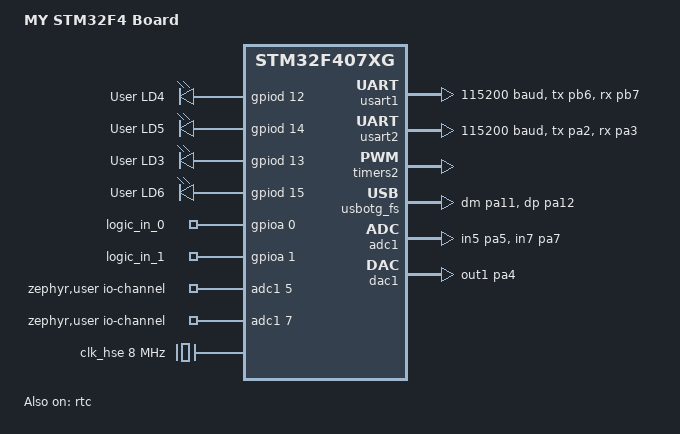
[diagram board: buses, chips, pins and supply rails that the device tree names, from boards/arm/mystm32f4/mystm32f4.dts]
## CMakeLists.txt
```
# SPDX-License-Identifier: Apache-2.0

cmake_minimum_required(VERSION 3.13.1)

set(BOARD_ROOT ${CMAKE_CURRENT_LIST_DIR})
set(BOARD myesp32)

find_package(Zephyr REQUIRED HINTS $ENV{ZEPHYR_BASE})
project(proj)

include(lib/src/CMakeLists.txt)

FILE(GLOB app_sources_c src/*.c)
FILE(GLOB app_sources_cpp src/*.cpp)

set(app_sources
  ${app_sources_c}
  ${app_sources_cpp}
)

target_sources(app PRIVATE ${app_sources} ${lib_sources})
```

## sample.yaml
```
sample:
  name: Espressif ESP32 WiFi Station
tests:
  sample.board.myesp32:
    platform_allow: myesp32
    tags: myesp32
```

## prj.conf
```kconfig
CONFIG_LOG=y
CONFIG_EXCEPTION_STACK_TRACE=y
CONFIG_DEBUG_INFO=y

CONFIG_CPLUSPLUS=y
CONFIG_MINIMAL_LIBC_MALLOC_ARENA_SIZE=4096
CONFIG_GPIO=y

CONFIG_SHELL=y
CONFIG_SHELL_STACK_SIZE=1024

CONFIG_SERIAL=y
CONFIG_UART_INTERRUPT_DRIVEN=y
CONFIG_DEBUG_OPTIMIZATIONS=y

CONFIG_ADC=y
CONFIG_DAC=y
```

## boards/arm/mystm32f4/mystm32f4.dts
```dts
/*
 * Copyright (c) 2017 Linaro Limited
 *
 * SPDX-License-Identifier: Apache-2.0
 */

/dts-v1/;
#include <st/f4/stm32f407Xg.dtsi>
#include <st/f4/stm32f407v(e-g)tx-pinctrl.dtsi>

/ {
	model = "MY STM32F4 Board";
	compatible = "st,stm32f4discovery";

	chosen {
		zephyr,console = &usart2;
		zephyr,shell-uart = &usart2;
		zephyr,sram = &sram0;
		zephyr,flash = &flash0;
		zephyr,ccm = &ccm0;
		zephyr,can-primary = &can2;
	};

	leds {
		compatible = "gpio-leds";
		led_0: led_green {
			gpios = <&gpiod 12 GPIO_ACTIVE_HIGH>;
			label = "User LD4";
		};
		led_1: led_red {
			gpios = <&gpiod 14 GPIO_ACTIVE_HIGH>;
			label = "User LD5";
		};
		led_2: led_orange {
			gpios = <&gpiod 13 GPIO_ACTIVE_HIGH>;
			label = "User LD3";
		};
		led_3: led_blue {
			gpios = <&gpiod 15 GPIO_ACTIVE_HIGH>;
			label = "User LD6";
		};
	};

	gpio_keys {
		compatible = "gpio-keys";
		logic_in_0: logic_in_0 {
			label = "logic_in_0";
			gpios = <&gpioa 0 GPIO_ACTIVE_HIGH>;
		};
		logic_in_1: logic_in_1 {
			label = "logic_in_1";
			gpios = <&gpioa 1 GPIO_SINGLE_ENDED>;
		};
	};

	zephyr,user {
		io-channels = <&adc1 5>, <&adc1 7>;
		dac = <&dac1>;
		dac-channel-id = <1>;
		dac-resolution = <12>;
	};

	aliases {
		intermdule = &usart1;
		sw0 = &logic_in_0;
	};
};

&usart1 {
	pinctrl-0 = <&usart1_tx_pb6 &usart1_rx_pb7>;
	current-speed = <115200>;
	status = "okay";
};

&clk_hse {
	clock-frequency = <DT_FREQ_M(8)>;
	status = "okay";
};

&pll {
	div-m = <8>;
	mul-n = <336>;
	div-p = <2>;
	div-q = <7>;
	clocks = <&clk_hse>;
	status = "okay";
};

&rcc {
	clocks = <&pll>;
	clock-frequency = <DT_FREQ_M(168)>;
	ahb-prescaler = <1>;
	apb1-prescaler = <4>;
	apb2-prescaler = <2>;
};

&usart2 {
	pinctrl-0 = <&usart2_tx_pa2 &usart2_rx_pa3>;
	current-speed = <115200>;
	status = "okay";
};

&timers2 {
	status = "okay";

	pwm2: pwm {
		status = "okay";
		pinctrl-0 = <&tim2_ch1_pa0>;
	};
};

&rtc {
	status = "okay";
};

&usbotg_fs {
	pinctrl-0 = <&usb_otg_fs_dm_pa11 &usb_otg_fs_dp_pa12>;
	status = "okay";
};
/*
&can1 {
	pinctrl-0 = <&can1_rx_pb8 &can1_tx_pb9>;
	bus-speed = <125000>;
	status = "disabled";
};

&can2 {
	pinctrl-0 = <&can2_rx_pb5 &can2_tx_pb13>;
	bus-speed = <125000>;
	status = "okay";
};
*/
&adc1 {
	status = "okay";
	pinctrl-0 = <&adc1_in5_pa5>, <&adc1_in7_pa7>;
};

&dac1 {
	status = "okay";
	pinctrl-0 = <&dac_out1_pa4>;
};
```

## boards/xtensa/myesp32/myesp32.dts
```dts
/*
 * Copyright (c) 2019 Intel Corporation.
 *
 * SPDX-License-Identifier: Apache-2.0
 */
/dts-v1/;

#include <espressif/esp32.dtsi>

/ {
	model = "myesp32";
	compatible = "espressif,esp32";

	aliases {
		uart-0 = &uart0;
		i2c-0 = &i2c0;
	};

	chosen {
		zephyr,sram = &sram0;
		zephyr,console = &uart0;
		zephyr,shell-uart = &uart0;
		zephyr,flash = &flash0;
	};

	leds {
		compatible = "gpio-leds";
		led_0: led0 {
			gpios = <&gpio0 4 GPIO_ACTIVE_HIGH>;
		};
		led_1: led1 {
			gpios = <&gpio0 2 GPIO_ACTIVE_HIGH>;
		};
	};
};

&cpu0 {
	clock-frequency = <ESP32_CLK_CPU_240M>;
};

&cpu1 {
	clock-frequency = <ESP32_CLK_CPU_240M>;
};

&uart0 {
	status = "okay";
	current-speed = <115200>;
	tx-pin = <1>;
	rx-pin = <3>;
	rts-pin = <22>;
	cts-pin = <19>;
};

&uart1 {
	current-speed = <115200>;
	tx-pin = <10>;
	rx-pin = <9>;
	rts-pin = <11>;
	cts-pin = <6>;
	hw-flow-control;
};

&uart2 {
	current-speed = <115200>;
	tx-pin = <17>;
	rx-pin = <16>;
	rts-pin = <7>;
	cts-pin = <8>;
	hw-flow-control;
};

&i2c0 {
	status = "okay";
	clock-frequency = <I2C_BITRATE_FAST>;
	sda-pin = <21>;
	scl-pin = <22>;
};

&i2c1 {
	clock-frequency = <I2C_BITRATE_FAST>;
	sda-pin = <18>;
	scl-pin = <5>;
};

&spi2 {
	#address-cells = <1>;
	#size-cells = <0>;
	status = "okay";
	miso-pin = <12>;
	mosi-pin = <13>;
	sclk-pin = <14>;
	csel-pin = <15>;
};

&spi3 {
	#address-cells = <1>;
	#size-cells = <0>;
	status = "okay";
	miso-pin = <19>;
	mosi-pin = <23>;
	sclk-pin = <18>;
	csel-pin = <5>;
};

&timer0 {
	status = "okay";
};

&timer1 {
	status = "okay";
};

&timer2 {
	status = "okay";
};

&timer3 {
	status = "okay";
};

&trng0 {
	status = "okay";
};

&flash0 {
	status = "okay";
	partitions {
		compatible = "fixed-partitions";
		#address-cells = <1>;
		#size-cells = <1>;

		storage_partition: partition@9000 {
			label = "storage";
			reg = <0x00009000 0x00006000>;
		};
	};
};
```

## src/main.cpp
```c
#include "main.h"

#include <stdlib.h>
#include <stdio.h>

#include <zephyr.h>
#include <logging/log.h>
#include <sys/printk.h>
#include <shell/shell.h>

#include "Board.h"
#include "ModuleCom.h"
#include "Settings.h"

//LOG_MODULE_DECLARE(main);
LOG_MODULE_REGISTER(main, LOG_LEVEL_INF);


volatile long blinkInterval = 1000;
volatile DeviceState::State device_state = DeviceState::DEMO;




#include "../lib/src/heater.h"
Heater heater;
/**
 * in0 enables heater
 * aIn1 is seen as Temperature
 */
void controlloop(){
	static int iteration = 0;

	heater.SetEnabled(BOARD.in0->Read());
	heater.SetCurrentTemperature(BOARD.aIn1->Read());
	heater.SetConfigTemperatureMin(SETTINGS.Get(Settings::TEMPERATURE_MIN) * 0.001F);
	heater.SetConfigTemperatureMax(SETTINGS.Get(Settings::TEMPERATURE_MAX) * 0.001F);

	heater.Process();

	BOARD.led2->Write(heater.GetHeaterState());

	if((iteration++%10) == 0) {
		FuncFrame frame;
		frame.func = 1;
		frame.subFunc = 0;
		frame.i32 = static_cast<int32_t>(BOARD.aIn1->Read() * 1000.F);
		dataSendFrame(frame);

		if(SETTINGS.Get(Settings::CONTROL_LOG_ENABLE))
		{
			printf("[controlloop] Itr: %d, Enabled: %d, Heating: %d, Temperature: %d.%03d\n",
						iteration,
						BOARD.in0->Read(), heater.GetHeaterState(), 
						static_cast<int32_t>(BOARD.aIn1->Read()),
						static_cast<int32_t>(BOARD.aIn1->Read()*1000)%1000);
		}
	}
}

#include "../lib/src/MockHardware.h"
MockHardware mockHardware;

void hw_mock() {
	static int iteration = 0;

	mockHardware.SetHeating(BOARD.in0->Read());
	mockHardware.Process();
	BOARD.aOut0->Write(mockHardware.GetTemperature());

	if((iteration++%10) == 0) {
		if(SETTINGS.Get(Settings::CONTROL_LOG_ENABLE))
		{
			printf("[hw_mock] Itr: %d, Enabled: %d, Heating: %d, Temperature: %d.%03d\n", 
						iteration,
						BOARD.led2->Read(),
						BOARD.in0->Read(),
						static_cast<int32_t>(mockHardware.GetTemperature()),
						static_cast<int32_t>(mockHardware.GetTemperature()*1000)%1000);
		}
	}
}


K_TIMER_DEFINE(timer_controlloop, NULL, NULL);
void controlloop_task(void)
{
	LOG_INF("[controlloop] Run");

	for (size_t loopIter = 0;;loopIter++) {
		k_timer_status_sync(&timer_controlloop);
		LOG_DBG("[controlloop] %d", loopIter);
		if(device_state == DeviceState::CONTROLLOOP){
			controlloop();
		} else if(device_state == DeviceState::HW_MOCK){
			hw_mock();
		}
	}
}





void main(void)
{
	LOG_INF("[BOARD]: %s", CONFIG_BOARD);

	BOARD.Init();

	k_timer_start(&timer_controlloop, K_MSEC(500), K_MSEC(20));

	LOG_INF("[main] Run");
	for (size_t loopIter = 0;;loopIter++) {
		LOG_DBG("loopIter %d", loopIter);
		if(device_state == DeviceState::DEMO){
			float dac_value = (loopIter%1000)*0.001;
			BOARD.aOut0->Write(dac_value);

			if((loopIter%20) == 0) {
				LOG_INF("DAC: %d", static_cast<int>(dac_value*1000));
				LOG_INF("ADC0: %d", static_cast<int>(BOARD.aIn0->Read()*1000));
				LOG_INF("ADC1: %d", static_cast<int>(BOARD.aIn1->Read()*1000));
			}
		}
		BOARD.led0->Write(!BOARD.led0->Read());
		k_msleep(blinkInterval);
	}
}

#define STACKSIZE 1024
#define PRIORITY 7

K_THREAD_DEFINE(controlloop_id, STACKSIZE, controlloop_task, NULL, NULL, NULL,
		PRIORITY, 0, 0);
```

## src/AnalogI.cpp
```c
#include "AnalogI.h"
#include <logging/log.h>

LOG_MODULE_REGISTER(AnalogI, LOG_LEVEL_INF);

AnalogIn::AnalogIn(const struct device *dev_adc, const uint8_t channel_id) :
  m_dev_adc(dev_adc),
  m_channel_id(channel_id)
{
}

void AnalogIn::Init() {
  if (!device_is_ready(m_dev_adc)) {
    LOG_ERR("ADC device not found\n");
    return;
  }
  struct adc_channel_cfg channel_cfg = {
    .gain = ADC_GAIN_1,
    .reference = ADC_REF_INTERNAL,
    .acquisition_time = ADC_ACQ_TIME_DEFAULT,
    .channel_id = m_channel_id,
    .differential = 0
  };

  LOG_INF("ADC setup channel %d\n", channel_cfg.channel_id);
  adc_channel_setup(m_dev_adc, &channel_cfg);
}

float AnalogIn::Read() {
  int16_t sample_buffer[1];
  struct adc_sequence sequence= {
    .channels    = BIT(m_channel_id),
    .buffer      = sample_buffer,
    .buffer_size = sizeof(sample_buffer),
    .resolution  = 12,
  };
  static_cast<void>(adc_read(m_dev_adc, &sequence));
  return static_cast<float>(sample_buffer[0]) / (1U<<sequence.resolution);
}
```

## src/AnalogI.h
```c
#pragma once

#include <zephyr.h>
#include <device.h>
#include <devicetree.h>
#include <drivers/adc.h>


class AnalogIn
{
	const struct device* m_dev_adc;
	const uint8_t m_channel_id;

public:
	AnalogIn(const struct device *dev_adc, const uint8_t channel_id);

	void Init();
	float Read();
};
```

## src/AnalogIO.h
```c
#pragma once

#include "AnalogI.h"
#include "AnalogO.h"
```

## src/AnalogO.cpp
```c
#include "AnalogO.h"
#include <logging/log.h>

LOG_MODULE_REGISTER(AnalogO, LOG_LEVEL_INF);

AnalogOut::AnalogOut(const struct device* dev_dac, const uint8_t channel_id, const uint8_t resolution) :
	m_dac_dev(dev_dac),
	m_dac_ch_cfg({channel_id, resolution})
{
}

void AnalogOut::Init() {
	if (!device_is_ready(m_dac_dev)) {
		LOG_ERR("DAC device %s is not ready\n", m_dac_dev->name);
		return;
	}
	int ret = dac_channel_setup(m_dac_dev, &m_dac_ch_cfg);
	if (ret != 0) {
		LOG_ERR("Setting up of DAC channel failed with code %d\n", ret);
		return;
	}
}

void AnalogOut::Write(float value) {
	uint32_t raw = static_cast<uint32_t>(value * (1U<<m_dac_ch_cfg.resolution));
	int ret = dac_write_value(m_dac_dev, m_dac_ch_cfg.channel_id, raw);
	if (ret != 0) {
		LOG_ERR("dac_write_value() failed with code %d\n", ret);
		return;
	}
}
```

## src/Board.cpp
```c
#include "Board.h"
#include <string.h>

#define LED0_NODE DT_NODELABEL(led_0)
#define LED1_NODE DT_NODELABEL(led_1)
#define LED2_NODE DT_NODELABEL(led_2)
#define LED3_NODE DT_NODELABEL(led_3)
#define IN0_NODE	DT_NODELABEL(logic_in_0)
#define IN1_NODE	DT_NODELABEL(logic_in_1)
#define UART_NODE DT_LABEL(DT_ALIAS(intermdule))
#define ADC_NODE		DT_PHANDLE(DT_PATH(zephyr_user), io_channels)

#define ADC_NUM_CHANNELS	DT_PROP_LEN(DT_PATH(zephyr_user), io_channels)

#if !DT_NODE_EXISTS(DT_PATH(zephyr_user)) || \
	!DT_NODE_HAS_PROP(DT_PATH(zephyr_user), io_channels)
#error "No suitable devicetree overlay specified"
#endif

#define ZEPHYR_USER_NODE DT_PATH(zephyr_user)
#if (DT_NODE_HAS_PROP(ZEPHYR_USER_NODE, dac)  && \
	DT_NODE_HAS_PROP(ZEPHYR_USER_NODE, dac_channel_id) && \
	DT_NODE_HAS_PROP(ZEPHYR_USER_NODE, dac_resolution))
#define DAC_NODE DT_PHANDLE(ZEPHYR_USER_NODE, dac)
#else
#error "Unsupported board: see README and check /zephyr,user node"
#define DAC_NODE DT_INVALID_NODE
#define DAC_CHANNEL_ID 0
#define DAC_RESOLUTION 0
#endif


Board BOARD;



void Board::Init() {
  init_io_logic();
  init_io_adc();
  init_io_dac();
}

void Board::init_io_logic() {
  in0 = new Button(GPIO_DT_SPEC_GET(IN0_NODE, gpios));
  in1 = new Button(GPIO_DT_SPEC_GET(IN1_NODE, gpios));

  led0 = new Button(GPIO_DT_SPEC_GET(LED0_NODE, gpios), GPIO_OUTPUT_INACTIVE);
  led1 = new Button(GPIO_DT_SPEC_GET(LED1_NODE, gpios), GPIO_OUTPUT_INACTIVE);
  led2 = new Button(GPIO_DT_SPEC_GET(LED2_NODE, gpios), GPIO_OUTPUT_INACTIVE);
  led3 = new Button(GPIO_DT_SPEC_GET(LED3_NODE, gpios), GPIO_OUTPUT_INACTIVE);

  in0->Init();
  in1->Init();

  led0->Init();
  led1->Init();
  led2->Init();
  led3->Init();
}

void Board::init_io_adc() {
  aIn0 = new AnalogIn(DEVICE_DT_GET(ADC_NODE), DT_IO_CHANNELS_INPUT_BY_IDX(DT_PATH(zephyr_user), 0));
  aIn1 = new AnalogIn(DEVICE_DT_GET(ADC_NODE), DT_IO_CHANNELS_INPUT_BY_IDX(DT_PATH(zephyr_user), 1));

  aIn0->Init();
  aIn1->Init();
}

void Board::init_io_dac() {
  static const struct device *dac_dev = DEVICE_DT_GET(DAC_NODE);
  aOut0 = new AnalogOut(dac_dev, DT_PROP(ZEPHYR_USER_NODE, dac_channel_id), DT_PROP(ZEPHYR_USER_NODE, dac_resolution));

  aOut0->Init();
}


Button* Board::GetLogicOut(const char* name) {
  Button* output = NULL;
  if(strcmp("led0", name) == 0) {
    output = led0;
  }else if(strcmp("led1", name) == 0) {
    output = led1;
  }else if(strcmp("led2", name) == 0) {
    output = led2;
  }else if(strcmp("led3", name) == 0) {
    output = led3;
  }
  return output;
}


Button* Board::GetLogicIn(const char* name) {
  Button* input = NULL;
  if(strcmp("in0", name) == 0) {
    input = in0;
  }else if(strcmp("in1", name) == 0) {
    input = in1;
  }
  return input;
}

AnalogOut* Board::GetAnalogOut(const char* name) {
  AnalogOut* aOut = NULL;
  if(strcmp("aOut0", name) == 0) {
    aOut = aOut0;
  }
  return aOut;
}

AnalogIn* Board::GetAnalogIn(const char* name) {
  AnalogIn* aIn = NULL;
  if(strcmp("aIn0", name) == 0) {
    aIn = aIn0;
  }else if(strcmp("aIn1", name) == 0) {
    aIn = aIn1;
  }
  return aIn;
}
```

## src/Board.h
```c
#pragma once

#include "AnalogIO.h"
#include "LogicIO.h"

/*
Pinning:

| Control | Testboard |
| aIn1		| aOut0     |
| aOut0		| aIn1      |
| led2		| in0       |
| led3		| in1       |
| in0			| led2      |
| in1			| led3      |

*/


class Board {
public:
	Button* in0;
	Button* in1;
	Button* led0;
	Button* led1;
	Button* led2;
	Button* led3;
	AnalogIn* aIn0;
	AnalogIn* aIn1;
	AnalogOut* aOut0;

	void Init();
	void init_io_logic();
	void init_io_adc();
	void init_io_dac();

	Button* GetLogicOut(const char* name);
	Button* GetLogicIn(const char* name);
	AnalogOut* GetAnalogOut(const char* name);
	AnalogIn* GetAnalogIn(const char* name);
};

extern Board BOARD;
```

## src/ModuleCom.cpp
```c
#include "ModuleCom.h"

#include <zephyr.h>
#include <device.h>
#include <devicetree.h>
#include <sys/printk.h>
#include <shell/shell.h>
#include <drivers/uart.h>

#define UART_NODE DT_LABEL(DT_ALIAS(intermdule))

LOG_MODULE_REGISTER(ModCom, LOG_LEVEL_WRN);

struct FrameData {
	struct Buffer {
		uint8_t buffer[sizeof(FuncFrame)];
		size_t idx;
	} in, frame;
	struct BufferOut {
		union {
			uint8_t buffer[sizeof(FuncFrame)];
			FuncFrame frame;
		};
		size_t idx;
		size_t length;
	} out;
	int64_t lastDataTime;
	int64_t frameDuration;
};



typedef void (*ModuleComCallI32)(const int32_t value);
volatile uint32_t configValues[ConfigValue::SIZE] = {0,};

void ModuleComCall_0_readback(const int32_t idx) {
	LOG_INF("[dataParser] ModuleComCall_0_readback");

	FuncFrame frame;
	frame.func = 0;
	if(idx < ConfigValue::SIZE)
	{
		frame.subFunc = idx;
		frame.i32 = configValues[idx];
		dataSendFrame(frame);
	}else{
		frame.subFunc = 255U;
		frame.i32 = configValues[idx];
		dataSendFrame(frame);
	}
}

void ModuleComCall_1(const int32_t value) {
	LOG_INF("[dataParser] ModuleComCall_1");
	configValues[1] = value;
}

void ModuleComCall_2(const int32_t value) {
	LOG_INF("[dataParser] ModuleComCall_2");
	configValues[2] = value;
}

const ModuleComCallI32 calls[] = {
	ModuleComCall_0_readback,
	ModuleComCall_1,
	ModuleComCall_2
};




K_SEM_DEFINE(semDataOut, 1, 1);
K_SEM_DEFINE(semDataIn, 0, 1);
static void uart_fifo_callback(const struct device *dev, void *user_data)
{
	struct FrameData* buffer = (struct FrameData*)user_data;

	if (!uart_irq_update(dev)) {
		LOG_WRN("UART IRQ Fail");
		return;
	}

	if (uart_irq_tx_ready(dev)) {
    if(buffer->out.idx >= buffer->out.length) {
			k_sem_give(&semDataOut);
		  uart_irq_tx_disable(dev);
		} else {
			uart_fifo_fill(dev, &buffer->out.buffer[buffer->out.idx++], 1);
		}
	}

	if (uart_irq_rx_ready(dev)) {
		uint8_t recvData;
		uart_fifo_read(dev, &recvData, 1);
		int64_t now = k_uptime_get();
		if((buffer->lastDataTime + buffer->frameDuration) < now){
			buffer->in.idx = 0;
			for(size_t idx = 0; idx < sizeof(buffer->in.buffer)-1; idx++) {
				buffer->in.buffer[idx] = 0;
			}
		}

		if(buffer->in.idx == 0) 
			buffer->lastDataTime = now;

		if(buffer->in.idx < sizeof(buffer->in.buffer)-1) {
			buffer->in.buffer[buffer->in.idx++] = recvData;
		} else {
			for(size_t idx = 0; idx < sizeof(buffer->in.buffer); idx++) {
				if(idx < buffer->in.idx)
					buffer->frame.buffer[idx] = buffer->in.buffer[idx];
				else
					buffer->frame.buffer[idx] = 0;
			}
			buffer->frame.idx = buffer->in.idx;
			buffer->in.idx = 0;
			k_sem_give(&semDataIn);
		}
	}
}






struct FrameData frameData;
const struct device *uart_dev = device_get_binding(UART_NODE);


bool dataSendFrame(const FuncFrame& frame, const float timeout)
{
	return dataSend(reinterpret_cast<const uint8_t*>(&frame), sizeof(frame), timeout);
}

bool dataSend(const uint8_t* const data, const size_t length, float timeout)
{
	if(k_sem_take(&semDataOut, K_MSEC(timeout*1000)) != 0)
		return false;

  if(length > sizeof(frameData.out.buffer)) {
    frameData.out.length = sizeof(frameData.out.buffer);
  } else {
    frameData.out.length = length;
  }
  
  for(size_t idx = 0; idx < frameData.out.length; idx++)
  {
    frameData.out.buffer[idx] = data[idx];
  }
  frameData.out.idx = 0;
	uart_irq_tx_enable(uart_dev);

	return true; 
}



void dataParser(void)
{
	LOG_INF("[dataParser] Init");
	if(!device_is_ready(uart_dev)) {
		LOG_ERR("Can't setup " UART_NODE "");
		return;
	}

	frameData.frameDuration = 10;
	uart_irq_callback_user_data_set(uart_dev, uart_fifo_callback, &frameData);
	uart_irq_rx_enable(uart_dev);

	LOG_INF("[dataParser] Run");
	for (size_t loopIter = 0;;loopIter++) {
		if (k_sem_take(&semDataIn, K_MSEC(10000)) != 0) {
			LOG_INF("[dataParser] Timeout");
			LOG_HEXDUMP_DBG(frameData.in.buffer, sizeof(frameData.in.buffer), "Buffer");
    } else {
			FuncFrame* funcFrame = reinterpret_cast<FuncFrame*>(frameData.in.buffer);
			printk("[dataParser] Fun: %d, SubFun: %d, Val: %08x\n",
				funcFrame->func, funcFrame->subFunc, funcFrame->i32);

			if(funcFrame->func == 0)
				if(funcFrame->subFunc < sizeof(calls)/sizeof(calls[0]))
					calls[funcFrame->subFunc](funcFrame->i32);
			LOG_HEXDUMP_DBG(frameData.frame.buffer, sizeof(frameData.frame.buffer), "Buffer");
		}
	}
}


K_THREAD_DEFINE(dataParser_id, 1024, dataParser, NULL, NULL, NULL, 7, 0, 0);
```

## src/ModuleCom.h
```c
#pragma once

#include <stdint.h>
#include <stdlib.h>

struct FuncFrame
{
  uint8_t func;
  uint8_t subFunc;
  union {
    float f;
    int32_t i32;
  };
};

/**
 * @brief Sends data on Serial
 * Will block thread until data is send or timeout
 * 
 * @param data 
 * @param length 
 * @param timeout in Seconds
 * @return true 
 * @return false 
 */
bool dataSend(const uint8_t* const data, const size_t length, const float timeout = 1.F);

bool dataSendFrame(const FuncFrame& frame, const float timeout = 1.F);
```

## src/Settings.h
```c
#pragma once

#include <stdint.h>


class Settings
{
public:
  enum Value {
    CALLBACK,
    TEMPERATURE_MIN,
    TEMPERATURE_MAX,
    CONTROL_LOG_ENABLE,
    MODCOM_LOG_ENABLE,
    SIZE
  };
  volatile int32_t configValues[Value::SIZE];

  Settings()
  {
    Set(Value::TEMPERATURE_MIN, 250);
    Set(Value::TEMPERATURE_MAX, 750);
    Set(Value::CONTROL_LOG_ENABLE, 0);
    Set(Value::MODCOM_LOG_ENABLE, 0);
  }

  int32_t Get(const Value& config) const
  {
    return configValues[static_cast<const uint32_t>(config)];
  }

  void Set(const Value& config, const int32_t value)
  {
    configValues[static_cast<const uint32_t>(config)] = value;
  }

  static uint32_t Size()
  {
    return Value::SIZE;
  }
};

extern Settings SETTINGS;
```

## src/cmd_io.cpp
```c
#include "main.h"
#include "Board.h"
#include <shell/shell.h>
#include <stdlib.h>

#include "ModuleCom.h"
#include "Settings.h"

static int cmd_io_config(const struct shell *shell, size_t argc, char **argv)
{
	if(argc < 2)
	{
		for(size_t idx = 0; idx < Settings::Size(); idx++)
		{
			shell_print(shell, "config %3d: %5d", 
					idx, SETTINGS.Get(static_cast<const Settings::Value>(idx)));
		}
	}
	else
	{
		size_t idx = atoi(argv[1]);
		if(idx >= Settings::Size())
		{
			shell_print(shell, "Error: Out of bounds %d", idx);
		}
		else
		{
			if(argc >= 3)
			{
				int32_t value = atoi(argv[2]);
				SETTINGS.Set(static_cast<const Settings::Value>(idx), value);
			}

			shell_print(shell, "config %3d: %5d",
					idx, SETTINGS.Get(static_cast<const Settings::Value>(idx)));
		}
	}
	return 0;
}

static int cmd_io_modcom(const struct shell *shell, size_t argc, char **argv)
{
	if(argc < 4) {
		shell_print(shell, "Usage: io modcom <fun> <subfun> <value>");
		return -1;
	}

	FuncFrame frame;
	frame.func = atoi(argv[1]);
	frame.subFunc = atoi(argv[2]);
	frame.i32 = atoi(argv[3]);

	shell_print(shell, "Send: Fun: %d, SubFun: %d, Val: %d",
		frame.func, frame.subFunc, frame.i32);

	dataSend(reinterpret_cast<uint8_t*>(&frame), sizeof(frame));
	return 0;
}


static int cmd_io_set(const struct shell *shell, size_t argc, char **argv)
{
	if(argc < 3) {
		shell_print(shell, "Usage: io set <io> <state>");
		return -1;
	}

	Button* output = BOARD.GetLogicOut(argv[1]);
	if(output != NULL) {
		auto value = atoi(argv[2]);
		output->Write(value);
		return 0;
	}

	AnalogOut* aOut = BOARD.GetAnalogOut(argv[1]);
	if(aOut != NULL) {
		auto value = atoi(argv[2]);
		BOARD.aOut0->Write(value * 0.001f);
		return 0;
	}

	shell_print(shell, "Unknown Output: '%s'", argv[1]);
	return -1;
}

static int cmd_io_get(const struct shell *shell, size_t argc, char **argv)
{
	if(argc < 2) {
		shell_print(shell, "Usage: io get <io>");
		return -1;
	}

	Button* input = BOARD.GetLogicIn(argv[1]);
	if(input != NULL) {
		shell_print(shell, "io %s: %d", argv[1], input->Read());
		return 0;
	}

	AnalogIn* aIn = BOARD.GetAnalogIn(argv[1]);
	if(aIn != NULL) {
		shell_print(shell, "io %s: %d.%03d", argv[1], static_cast<int>(aIn->Read()), static_cast<int>(aIn->Read()*1000)%1000);
		return 0;
	}

	shell_print(shell, "Unknown Input: '%s'", argv[1]);
	return -1;
}

static int cmd_io_devicestate(const struct shell *shell, size_t argc, char **argv,
		    void *data)
{
	if(argc < 1) {
		shell_print(shell, "Usage: devicestate DEMO, CONTROLLOOP, TESTFRAMEWORK");
		return -1;
	}

	device_state = (DeviceState::State)(intptr_t)data;
	shell_print(shell, "Regulation is %d", device_state);

	return 0;
}
SHELL_SUBCMD_DICT_SET_CREATE(sub_io_devicestate, cmd_io_devicestate,
	(DEMO, DeviceState::DEMO),
	(CONTROLLOOP, DeviceState::CONTROLLOOP),
	(TESTFRAMEWORK, DeviceState::TESTFRAMEWORK),
	(HW_MOCK, DeviceState::HW_MOCK)
);

SHELL_STATIC_SUBCMD_SET_CREATE(sub_io,
	SHELL_CMD(config, NULL, "List configs", cmd_io_config),
	SHELL_CMD(modcom, NULL, "ModCom Send", cmd_io_modcom),
	SHELL_CMD(set, NULL, "Set", cmd_io_set),
	SHELL_CMD(get, NULL, "Get", cmd_io_get),
	SHELL_CMD(devicestate, &sub_io_devicestate, "devicestate DEMO, CONTROLLOOP, TESTFRAMEWORK", cmd_io_devicestate),
	SHELL_SUBCMD_SET_END /* Array terminated. */
);
SHELL_CMD_REGISTER(io, &sub_io, "IO commands", NULL);
```

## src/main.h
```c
#pragma once


extern long blinkInterval;
```

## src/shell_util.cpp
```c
#include "main.h"
#include <shell/shell.h>

static int cmd_util_hexdump(const struct shell *shell, size_t argc, char **argv)
{
	shell_print(shell, "argc = %d", argc);
	for (size_t cnt = 0; cnt < argc; cnt++) {
		shell_print(shell, "argv[%d]", cnt);
		shell_hexdump(shell, (uint8_t*)argv[cnt], strlen(argv[cnt]));
	}

	return 0;
}

static int cmd_util_interval(const struct shell *shell, size_t argc, char **argv,
		    void *data)
{
	blinkInterval = (intptr_t)data;

	return 0;
}


static int cmd_util_echo(const struct shell *shell, size_t argc, char **argv)
{
	shell_print(shell, "Got: %s", argv[1]);

	return 0;
}

SHELL_SUBCMD_DICT_SET_CREATE(sub_dict_cmds, cmd_util_interval,
	(100, 100), (10, 10), (1000, 1000)
);


SHELL_STATIC_SUBCMD_SET_CREATE(sub_util,
	SHELL_CMD(hexdump, NULL, "Hexdump", cmd_util_hexdump),
	SHELL_CMD(echo, NULL, "Echo", cmd_util_echo),
	SHELL_CMD(interval, &sub_dict_cmds, "interval", NULL),
	SHELL_SUBCMD_SET_END /* Array terminated. */
);
SHELL_CMD_REGISTER(util, &sub_util, "Util commands", NULL);
```
